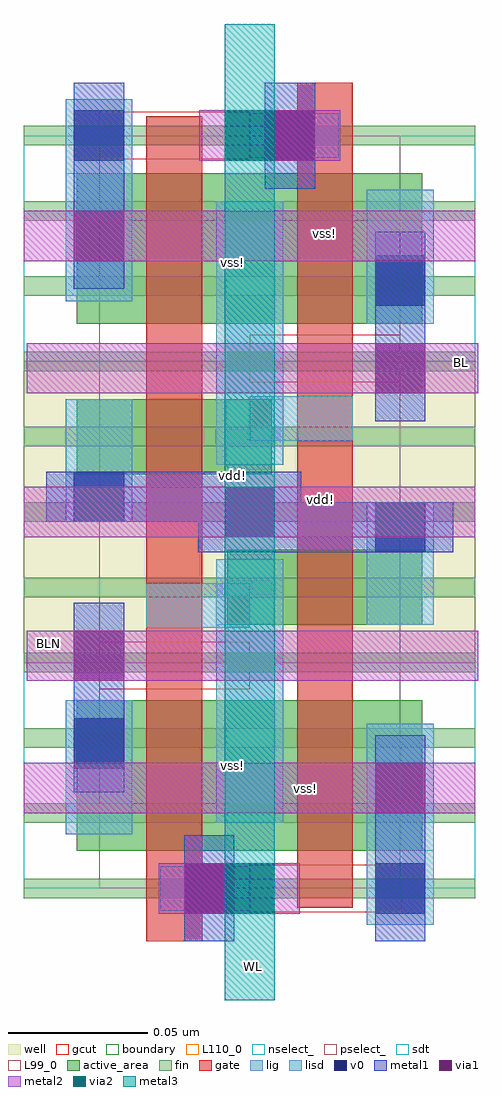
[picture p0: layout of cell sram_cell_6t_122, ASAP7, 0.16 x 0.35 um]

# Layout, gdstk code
import gdstk
lib = gdstk.Library(unit=1e-6, precision=2.5e-10)
def R(c, l, rs):  # rectangles x0, y0, x1, y1
    for r in rs: c.add(gdstk.rectangle(r[:2], r[2:], *l))
def A(c, l, x, y, w, h, nx, ny, dx, dy):  # array of equal rectangles
    R(c, l, [(x+i*dx, y+j*dy, x+i*dx+w, y+j*dy+h) for i in range(nx) for j in range(ny)])
def P(c, l, *ps):  # polygons
    for p in ps: c.add(gdstk.Polygon(p, *l))
well = (1, 0)
fin = (2, 0)
gate = (7, 0)
gcut = (10, 0)
active_area = (11, 0)
nselect_ = (12, 0)
pselect_ = (13, 0)
lig = (16, 0)
lisd = (17, 0)
v0 = (18, 0)
metal1 = (19, 0)
metal2 = (20, 0)
via1 = (21, 0)
via2 = (25, 0)
metal3 = (30, 0)
sdt = (88, 0)
L99_0 = (99, 0)
boundary = (100, 0)
L110_0 = (110, 0)

sram_cell_6t_122 = lib.new_cell('sram_cell_6t_122')
R(sram_cell_6t_122, well, [(-0.027,0.081,0.135,0.189)])
A(sram_cell_6t_122, fin, -0.027, -0.0035, 0.162, 0.007, 1, 11, 0, 0.027)
R(sram_cell_6t_122, gate, [(0.017,-0.019,0.037,0.277), (0.071,-0.007,0.091,0.289)])
R(sram_cell_6t_122, gcut, [(0.054,-0.0085,0.1085,0.0085), (0,0.0715,0.054,0.0885), (0.054,0.1815,0.108,0.1985), (0,0.2615,0.054,0.2785)])
R(sram_cell_6t_122, active_area, [(-0.008,0.0135,0.116,0.0675), (0.046,0.0945,0.116,0.1215), (-0.008,0.1485,0.062,0.1755), (-0.008,0.2025,0.116,0.2565)])
R(sram_cell_6t_122, nselect_, [(-0.027,0,0.135,0.081), (-0.027,0.189,0.135,0.27)])
R(sram_cell_6t_122, pselect_, [(-0.027,0.081,0.135,0.189)])
R(sram_cell_6t_122, lig, [(0.022,-0.008,0.054,0.008), (0.017,0.0935,0.054,0.1095), (0.054,0.1605,0.091,0.1765), (0.054,0.262,0.086,0.278)])
R(sram_cell_6t_122, lisd, [(0.096,-0.013,0.12,0.059), (-0.012,0.0195,0.012,0.0675), (0.042,0.0235,0.066,0.118), (0.096,0.0945,0.12,0.1385), (-0.012,0.1315,0.012,0.1755), (0.042,0.152,0.066,0.2465), (0.096,0.2025,0.12,0.2505), (-0.012,0.2105,0.012,0.283)])
R(sram_cell_6t_122, v0, [(0.0305,-0.009,0.0485,0.009), (0.099,-0.009,0.117,0.009), (-0.009,0.043,0.009,0.061), (0.099,0.1205,0.117,0.1385), (-0.009,0.1315,0.009,0.1495), (0.099,0.209,0.117,0.227), (-0.009,0.261,0.009,0.279), (0.0595,0.261,0.0775,0.279)])
R(sram_cell_6t_122, metal1, [(0.0305,-0.019,0.0485,0.019), (0.099,-0.019,0.117,0.055), (-0.009,0.0345,0.009,0.1025), (0.099,0.1675,0.117,0.2355), (-0.009,0.215,0.009,0.289), (0.0595,0.251,0.0775,0.289)])
P(sram_cell_6t_122, metal1, [(0.0355,0.1205),(0.0355,0.1315),(-0.019,0.1315),(-0.019,0.1495),(0.0725,0.1495),(0.0725,0.1385),(0.127,0.1385),(0.127,0.1205)])
A(sram_cell_6t_122, metal2, -0.027, 0.027, 0.162, 0.018, 1, 3, 0, 0.099)
R(sram_cell_6t_122, metal2, [(0.0215,-0.009,0.072,0.009), (-0.026,0.0745,0.136,0.0925), (-0.026,0.1775,0.136,0.1955), (0.036,0.261,0.0865,0.279)])
R(sram_cell_6t_122, via1, [(0.0305,-0.009,0.0485,0.009), (0.099,0.027,0.117,0.045), (-0.009,0.0745,0.009,0.0925), (0.045,0.126,0.063,0.144), (0.099,0.1775,0.117,0.1955), (-0.009,0.225,0.009,0.243), (0.0595,0.261,0.0775,0.279)])
R(sram_cell_6t_122, via2, [(0.045,-0.009,0.063,0.009), (0.045,0.261,0.063,0.279)])
R(sram_cell_6t_122, metal3, [(0.045,-0.04,0.063,0.31)])
R(sram_cell_6t_122, sdt, [(0.096,0.0135,0.12,0.059), (-0.012,0.0195,0.012,0.0675), (0.042,0.0235,0.066,0.0675), (0.042,0.0945,0.066,0.118), (0.096,0.0945,0.12,0.1215), (-0.012,0.1485,0.012,0.1755), (0.042,0.152,0.066,0.1755), (0.042,0.2025,0.066,0.2465), (0.096,0.2025,0.12,0.2505), (-0.012,0.2105,0.012,0.2565)])
R(sram_cell_6t_122, L99_0, [(0,0,0.108,0.27)])
R(sram_cell_6t_122, boundary, [(0,0,0.108,0.27)])
R(sram_cell_6t_122, L110_0, [(0,0,0.108,0.27)])
sram_cell_6t_122.add(gdstk.Label('vss!', (0.081,0.235), layer=20, texttype=251))
sram_cell_6t_122.add(gdstk.Label('vss!', (0.074,0.036), layer=20, texttype=251))
sram_cell_6t_122.add(gdstk.Label('vdd!', (0.0795,0.1395), layer=20, texttype=251))
sram_cell_6t_122.add(gdstk.Label('BL', (0.13,0.1885), layer=20, texttype=251))
sram_cell_6t_122.add(gdstk.Label('BLN', (-0.018,0.088), layer=20, texttype=251))
sram_cell_6t_122.add(gdstk.Label('vss!', (0.048,0.2245), layer=3, texttype=251))
sram_cell_6t_122.add(gdstk.Label('vss!', (0.048,0.044), layer=3, texttype=251))
sram_cell_6t_122.add(gdstk.Label('vdd!', (0.048,0.148), layer=1, texttype=251))
sram_cell_6t_122.add(gdstk.Label('WL', (0.0555,-0.028), layer=30, texttype=251))

lib.write_gds('sram_cell_6t_122.gds')
